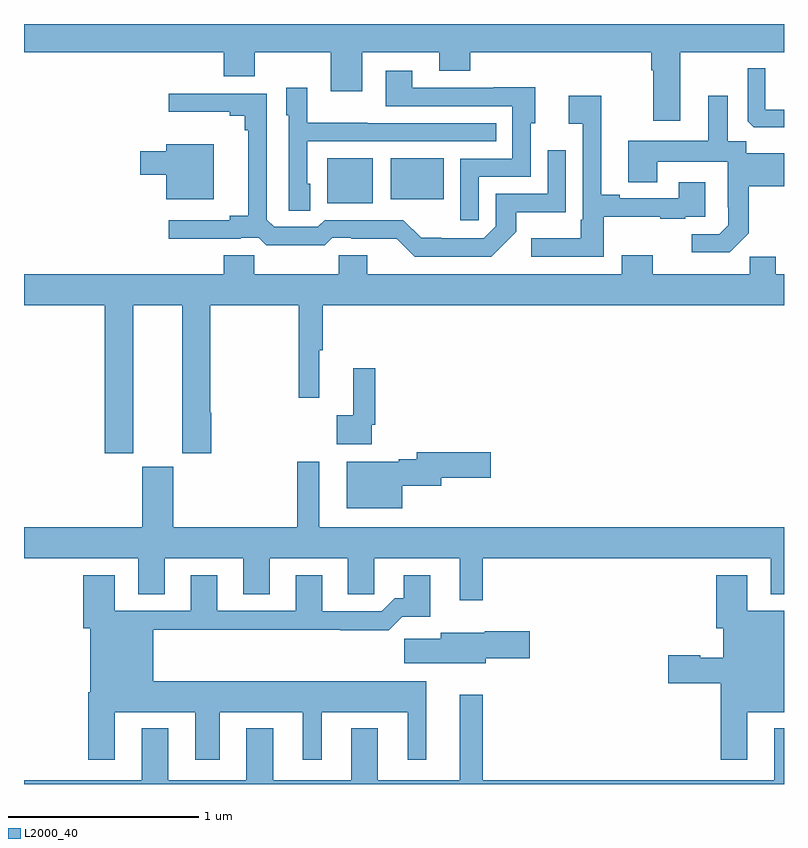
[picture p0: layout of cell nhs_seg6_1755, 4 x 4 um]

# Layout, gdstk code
import gdstk
lib = gdstk.Library(unit=1e-6, precision=1e-09)
def R(c, l, rs):  # rectangles x0, y0, x1, y1
    for r in rs: c.add(gdstk.rectangle(r[:2], r[2:], *l))
def P(c, l, *ps):  # polygons
    for p in ps: c.add(gdstk.Polygon(p, *l))
L2000_40 = (2000, 40)

nhs_seg6_1755 = lib.new_cell('nhs_seg6_1755')
R(nhs_seg6_1755, L2000_40, [(218.597,930.557,218.836,930.793), (218.93,930.578,219.208,930.793)])
P(nhs_seg6_1755, L2000_40, [(220.453,931.352),(221,931.352),(221,931.5),(217,931.5),(217,931.352),(218.051,931.352),(218.051,931.224),(218.215,931.224),(218.215,931.352),(218.615,931.352),(218.615,931.146),(218.779,931.146),(218.779,931.352),(219.185,931.352),(219.185,931.253),(219.349,931.253),(219.349,931.352),(220.301,931.352),(220.301,931.256),(220.313,931.256),(220.313,930.99),(220.453,930.99)],
  [(221,931.05),(220.902,931.05),(220.902,931.267),(220.809,931.267),(220.809,930.987),(220.841,930.956),(221,930.956)],
  [(219.393,930.696),(219.666,930.696),(219.666,930.978),(219.691,930.978),(219.691,931.166),(219.473,931.166),(219.473,931.164),(219.043,931.164),(219.043,931.255),(218.903,931.255),(218.903,931.068),(219.57,931.068),(219.57,930.792),(219.297,930.792),(219.297,930.468),(219.393,930.468)],
  [(218.506,930.66),(218.49,930.66),(218.49,930.882),(219.485,930.882),(219.485,930.978),(218.807,930.978),(218.807,930.979),(218.49,930.979),(218.49,931.165),(218.381,931.165),(218.381,931.02),(218.394,931.02),(218.394,930.517),(218.506,930.517)],
  [(219.591,930.407),(219.591,930.509),(219.852,930.509),(219.852,930.835),(219.756,930.835),(219.756,930.606),(219.483,930.606),(219.483,930.435),(219.42,930.372),(219.196,930.372),(219.196,930.374),(219.092,930.374),(218.997,930.468),(218.583,930.468),(218.547,930.432),(218.316,930.432),(218.277,930.471),(218.277,931.134),(217.761,931.134),(217.761,931.037),(218.084,931.037),(218.084,931.018),(218.161,931.018),(218.161,930.941),(218.18,930.941),(218.18,930.491),(218.084,930.491),(218.084,930.468),(217.761,930.468),(217.761,930.371),(218.141,930.371),(218.141,930.375),(218.235,930.375),(218.275,930.336),(218.583,930.336),(218.622,930.375),(218.722,930.375),(218.722,930.371),(218.963,930.371),(219.057,930.276),(219.46,930.276)],
  [(220.051,930.485),(220.349,930.485),(220.349,930.474),(220.481,930.474),(220.481,930.486),(220.585,930.486),(220.585,930.667),(220.445,930.667),(220.445,930.582),(220.135,930.582),(220.135,930.601),(220.039,930.601),(220.039,931.123),(219.867,931.123),(219.867,930.974),(219.942,930.974),(219.942,930.469),(219.93,930.469),(219.93,930.373),(219.669,930.373),(219.669,930.276),(220.051,930.276)],
  [(220.815,930.399),(220.815,930.645),(221,930.645),(221,930.82),(220.8,930.82),(220.8,930.884),(220.705,930.884),(220.705,931.123),(220.601,931.123),(220.601,930.886),(220.181,930.886),(220.181,930.667),(220.333,930.667),(220.333,930.776),(220.704,930.776),(220.704,930.535),(220.706,930.535),(220.706,930.44),(220.659,930.393),(220.515,930.393),(220.515,930.299),(220.715,930.299)],
  [(217.999,930.868),(217.748,930.868),(217.748,930.829),(217.611,930.829),(217.611,930.707),(217.748,930.707),(217.748,930.578),(217.999,930.578)],
  [(217.576,930.02),(217.832,930.02),(217.832,929.241),(217.985,929.241),(217.985,929.453),(217.98,929.453),(217.98,930.02),(218.445,930.02),(218.445,929.532),(218.555,929.532),(218.555,929.784),(218.573,929.784),(218.573,930.02),(221,930.02),(221,930.184),(220.957,930.184),(220.957,930.275),(220.819,930.275),(220.819,930.184),(220.309,930.184),(220.309,930.283),(220.145,930.283),(220.145,930.184),(218.806,930.184),(218.806,930.282),(218.656,930.282),(218.656,930.184),(218.211,930.184),(218.211,930.282),(218.051,930.282),(218.051,930.184),(217,930.184),(217,930.02),(217.424,930.02),(217.424,929.241),(217.576,929.241)],
  [(218.829,929.392),(218.849,929.392),(218.849,929.689),(218.732,929.689),(218.732,929.441),(218.646,929.441),(218.646,929.288),(218.829,929.288)],
  [(218.992,929.069),(219.196,929.069),(219.196,929.111),(219.457,929.111),(219.457,929.246),(219.068,929.246),(219.068,929.21),(218.972,929.21),(218.972,929.197),(218.699,929.197),(218.699,928.952),(218.992,928.952)],
  [(219.415,928.688),(220.931,928.688),(220.931,928.498),(221,928.498),(221,928.852),(218.554,928.852),(218.554,929.197),(218.437,929.197),(218.437,928.852),(217.786,928.852),(217.786,929.169),(217.622,929.169),(217.622,928.852),(217,928.852),(217,928.688),(217.601,928.688),(217.601,928.498),(217.741,928.498),(217.741,928.688),(218.153,928.688),(218.153,928.498),(218.293,928.498),(218.293,928.688),(218.705,928.688),(218.705,928.498),(218.844,928.498),(218.844,928.688),(219.293,928.688),(219.293,928.467),(219.415,928.467)],
  [(220.807,927.878),(221,927.878),(221,928.413),(220.807,928.413),(220.807,928.6),(220.643,928.6),(220.643,928.32),(220.679,928.32),(220.679,928.165),(220.559,928.165),(220.559,928.178),(220.392,928.178),(220.392,928.031),(220.667,928.031),(220.667,927.627),(220.807,927.627)],
  [(217.477,927.878),(217.901,927.878),(217.901,927.627),(218.029,927.627),(218.029,927.878),(218.468,927.878),(218.468,927.627),(218.566,927.627),(218.566,927.878),(219.02,927.878),(219.02,927.627),(219.118,927.627),(219.118,928.042),(217.681,928.042),(217.681,928.312),(218.665,928.312),(218.665,928.31),(218.921,928.31),(218.99,928.379),(219.139,928.379),(219.139,928.6),(218.999,928.6),(218.999,928.477),(218.95,928.477),(218.883,928.41),(218.569,928.41),(218.569,928.6),(218.429,928.6),(218.429,928.413),(218.017,928.413),(218.017,928.6),(217.877,928.6),(217.877,928.413),(217.477,928.413),(217.477,928.6),(217.313,928.6),(217.313,928.32),(217.349,928.32),(217.349,927.982),(217.337,927.982),(217.337,927.627),(217.477,927.627)],
  [(219.43,928.163),(219.661,928.163),(219.661,928.305),(219.426,928.305),(219.426,928.297),(219.194,928.297),(219.194,928.265),(219,928.265),(219,928.136),(219.43,928.136)],
  [(221,927.793),(220.949,927.793),(220.949,927.52),(219.415,927.52),(219.415,927.97),(219.293,927.97),(219.293,927.52),(218.863,927.52),(218.863,927.793),(218.723,927.793),(218.723,927.52),(218.311,927.52),(218.311,927.793),(218.171,927.793),(218.171,927.52),(217.759,927.52),(217.759,927.793),(217.619,927.793),(217.619,927.52),(217,927.52),(217,927.5),(221,927.5)])

lib.write_gds('nhs_seg6_1755.gds')
